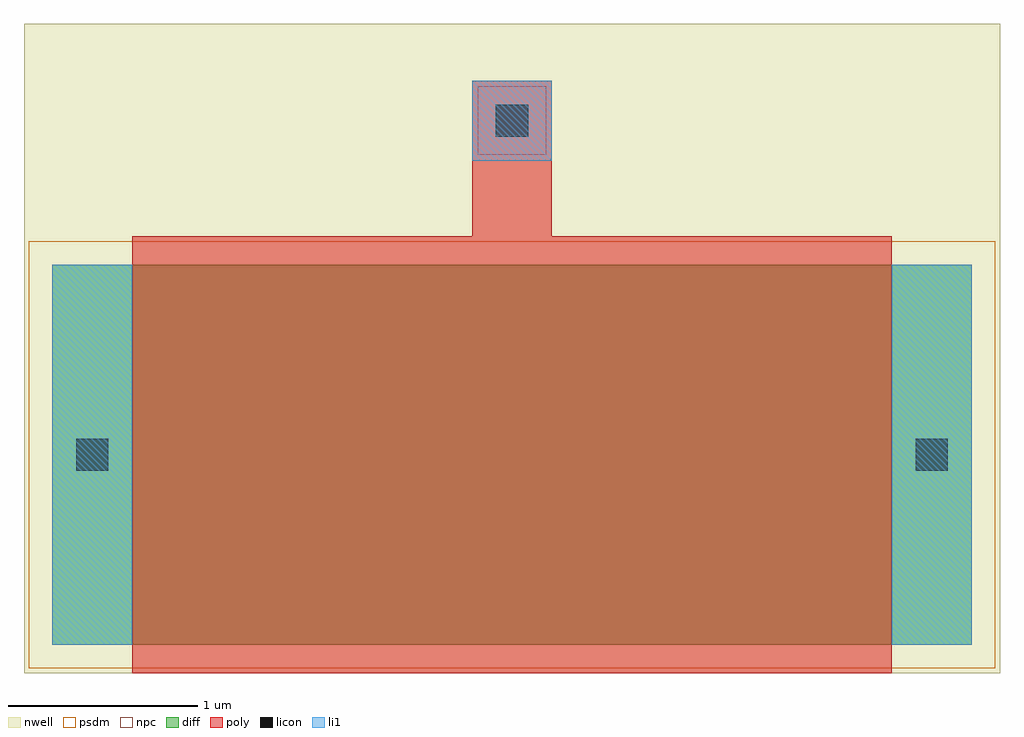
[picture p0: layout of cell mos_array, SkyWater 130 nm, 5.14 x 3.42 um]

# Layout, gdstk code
import gdstk
lib = gdstk.Library(unit=1e-6, precision=1e-09)
def R(c, l, rs):  # rectangles x0, y0, x1, y1
    for r in rs: c.add(gdstk.rectangle(r[:2], r[2:], *l))
nwell = (64, 20)
diff = (65, 20)
poly = (66, 20)
licon = (66, 44)
li1 = (67, 20)
psdm = (94, 20)
npc = (95, 20)

mos_array = lib.new_cell('mos_array')
R(mos_array, nwell, [(-0.15,-0.15,4.99,3.27)])
R(mos_array, diff, [(0,0,4.84,2)])
R(mos_array, poly, [(0.42,-0.15,4.42,2), (0.42,2,4.42,2.15), (0.42,2,4.42,2.15), (2.21,2.15,2.63,2.97)])
R(mos_array, licon, [(0.125,0.915,0.295,1.085), (4.545,0.915,4.715,1.085), (2.335,2.675,2.505,2.845)])
R(mos_array, li1, [(0,0,0.42,2), (4.42,0,4.84,2), (2.21,2.55,2.63,2.97)])
R(mos_array, psdm, [(-0.125,-0.125,4.965,2.125)])
R(mos_array, npc, [(2.24,2.58,2.6,2.94)])

lib.write_gds('mos_array.gds')
